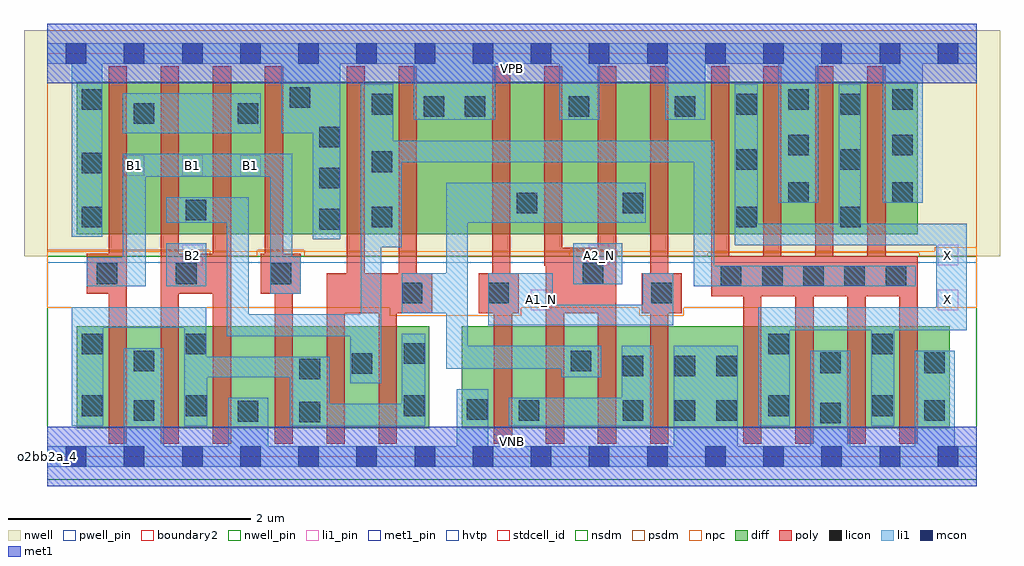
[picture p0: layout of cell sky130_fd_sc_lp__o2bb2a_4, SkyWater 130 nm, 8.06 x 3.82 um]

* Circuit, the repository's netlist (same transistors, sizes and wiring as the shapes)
* Copyright 2020 The SkyWater PDK Authors
*
* Licensed under the Apache License, Version 2.0 (the "License");
* you may not use this file except in compliance with the License.
* You may obtain a copy of the License at
*
*     https://www.apache.org/licenses/LICENSE-2.0
*
* Unless required by applicable law or agreed to in writing, software
* distributed under the License is distributed on an "AS IS" BASIS,
* WITHOUT WARRANTIES OR CONDITIONS OF ANY KIND, either express or implied.
* See the License for the specific language governing permissions and
* limitations under the License.
*
* SPDX-License-Identifier: Apache-2.0

.SUBCKT sky130_fd_sc_lp__o2bb2a_4 A1_N A2_N B1 B2 VGND VNB VPB VPWR X
*.PININFO A1_N:I A2_N:I B1:I B2:I VGND:I VNB:I VPB:I VPWR:I X:O
MMIN2 X y VGND VNB sky130_fd_pr__nfet_01v8 m=4 w=0.84U l=0.15U mult=1 sa=0.265
+ sb=0.265 sd=0.28 area=0.063 perim=1.14
MMNnand0 VGND A1_N sndNA1N VNB sky130_fd_pr__nfet_01v8 m=2 w=0.84U l=0.15U mult=1
+ sa=0.265 sb=0.265 sd=0.28 area=0.063 perim=1.14
MMNnand1 sndNA1N A2_N inand VNB sky130_fd_pr__nfet_01v8 m=2 w=0.84U l=0.15U mult=1
+ sa=0.265 sb=0.265 sd=0.28 area=0.063 perim=1.14
MMNaoi10 nmid B1 VGND VNB sky130_fd_pr__nfet_01v8 m=2 w=0.84U l=0.15U mult=1 sa=0.265
+ sb=0.265 sd=0.28 area=0.063 perim=1.14
MMNaoi11 nmid B2 VGND VNB sky130_fd_pr__nfet_01v8 m=2 w=0.84U l=0.15U mult=1 sa=0.265
+ sb=0.265 sd=0.28 area=0.063 perim=1.14
MMNaoi20 y inand nmid VNB sky130_fd_pr__nfet_01v8 m=2 w=0.84U l=0.15U mult=1 sa=0.265
+ sb=0.265 sd=0.28 area=0.063 perim=1.14
MMIP2 X y VPWR VPB sky130_fd_pr__pfet_01v8_hvt m=4 w=1.26U l=0.15U mult=1 sa=0.265
+ sb=0.265 sd=0.28 area=0.063 perim=1.14
MMPnand0 inand A1_N VPWR VPB sky130_fd_pr__pfet_01v8_hvt m=2 w=1.26U l=0.15U mult=1
+ sa=0.265 sb=0.265 sd=0.28 area=0.063 perim=1.14
MMPnand1 inand A2_N VPWR VPB sky130_fd_pr__pfet_01v8_hvt m=2 w=1.26U l=0.15U mult=1
+ sa=0.265 sb=0.265 sd=0.28 area=0.063 perim=1.14
MMPaoi10 VPWR B1 sndPB1 VPB sky130_fd_pr__pfet_01v8_hvt m=2 w=1.26U l=0.15U mult=1
+ sa=0.265 sb=0.265 sd=0.28 area=0.063 perim=1.14
MMPaoi11 sndPB1 B2 y VPB sky130_fd_pr__pfet_01v8_hvt m=2 w=1.26U l=0.15U mult=1
+ sa=0.265 sb=0.265 sd=0.28 area=0.063 perim=1.14
MMPaoi20 y inand VPWR VPB sky130_fd_pr__pfet_01v8_hvt m=2 w=1.26U l=0.15U mult=1
+ sa=0.265 sb=0.265 sd=0.28 area=0.063 perim=1.14
.ENDS sky130_fd_sc_lp__o2bb2a_4

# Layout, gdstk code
import gdstk
lib = gdstk.Library(unit=1e-6, precision=1e-09)
def R(c, l, rs):  # rectangles x0, y0, x1, y1
    for r in rs: c.add(gdstk.rectangle(r[:2], r[2:], *l))
def A(c, l, x, y, w, h, nx, ny, dx, dy):  # array of equal rectangles
    R(c, l, [(x+i*dx, y+j*dy, x+i*dx+w, y+j*dy+h) for i in range(nx) for j in range(ny)])
def P(c, l, *ps):  # polygons
    for p in ps: c.add(gdstk.Polygon(p, *l))
nwell_pin = (64, 16)
nwell = (64, 20)
diff = (65, 20)
poly = (66, 20)
licon = (66, 44)
li1_pin = (67, 16)
li1 = (67, 20)
mcon = (67, 44)
met1_pin = (68, 16)
met1 = (68, 20)
hvtp = (78, 44)
stdcell_id = (81, 4)
nsdm = (93, 44)
psdm = (94, 20)
npc = (95, 20)
pwell_pin = (122, 16)
boundary2 = (236, 0)

sky130_fd_sc_lp__o2bb2a_ = lib.new_cell('sky130_fd_sc_lp__o2bb2a_4')
R(sky130_fd_sc_lp__o2bb2a_, nwell_pin, [(0,3.085,7.68,3.33)])
R(sky130_fd_sc_lp__o2bb2a_, nwell, [(-0.19,1.655,7.87,3.52)])
R(sky130_fd_sc_lp__o2bb2a_, diff, [(0.245,0.235,3.155,1.075), (3.425,0.235,7.455,1.075), (0.245,1.835,7.19,3.095)])
P(sky130_fd_sc_lp__o2bb2a_, poly, [(0.66,3.225),(0.51,3.225),(0.51,1.675),(0.33,1.675),(0.33,1.345),(0.51,1.345),(0.51,0.105),(0.66,0.105)],
  [(1.52,3.225),(1.37,3.225),(1.37,1.675),(1.09,1.675),(1.09,3.225),(0.94,3.225),(0.94,0.105),(1.09,0.105),(1.09,1.345),(1.37,1.345),(1.37,0.105),(1.52,0.105)],
  [(2.095,1.675),(1.95,1.675),(1.95,3.225),(1.8,3.225),(1.8,1.675),(1.765,1.675),(1.765,1.345),(1.88,1.345),(1.88,0.105),(2.03,0.105),(2.03,1.345),(2.095,1.345)],
  [(3.18,1.515),(3.055,1.515),(3.055,3.225),(2.905,3.225),(2.905,1.515),(2.625,1.515),(2.625,3.225),(2.475,3.225),(2.475,1.515),(2.31,1.515),(2.31,0.105),(2.46,0.105),(2.46,1.185),(2.74,1.185),(2.74,0.105),(2.89,0.105),(2.89,1.185),(3.18,1.185)],
  [(3.895,1.515),(3.825,1.515),(3.825,3.225),(3.675,3.225),(3.675,1.515),(3.565,1.515),(3.565,1.185),(3.69,1.185),(3.69,0.105),(3.84,0.105),(3.84,1.185),(3.895,1.185)],
  [(4.7,3.225),(4.55,3.225),(4.55,1.725),(4.255,1.725),(4.255,3.225),(4.105,3.225),(4.105,1.575),(4.12,1.575),(4.12,0.105),(4.27,0.105),(4.27,1.185),(4.55,1.185),(4.55,0.105),(4.7,0.105)],
  [(5.24,1.515),(5.13,1.515),(5.13,3.225),(4.98,3.225),(4.98,1.515),(4.91,1.515),(4.91,1.185),(4.98,1.185),(4.98,0.105),(5.13,0.105),(5.13,1.185),(5.24,1.185)],
  [(7.19,1.655),(6.925,1.655),(6.925,3.225),(6.775,3.225),(6.775,1.655),(6.495,1.655),(6.495,3.225),(6.345,3.225),(6.345,1.655),(6.065,1.655),(6.065,3.225),(5.915,3.225),(5.915,1.655),(5.635,1.655),(5.635,3.225),(5.485,3.225),(5.485,1.325),(5.75,1.325),(5.75,0.105),(5.9,0.105),(5.9,1.325),(6.18,1.325),(6.18,0.105),(6.33,0.105),(6.33,1.325),(6.61,1.325),(6.61,0.105),(6.76,0.105),(6.76,1.325),(7.04,1.325),(7.04,0.105),(7.19,0.105)])
A(sky130_fd_sc_lp__o2bb2a_, licon, 5.565, 1.405, 0.17, 0.17, 5, 1, 0.34, 0)
A(sky130_fd_sc_lp__o2bb2a_, licon, 2.25, 1.875, 0.17, 0.17, 1, 3, 0, 0.34)
R(sky130_fd_sc_lp__o2bb2a_, licon, [(6.385,0.275,6.555,0.445), (2.085,0.285,2.255,0.455), (1.575,0.29,1.745,0.46), (0.715,0.295,0.885,0.465), (3.895,0.295,4.065,0.465), (4.755,0.295,4.925,0.465), (5.185,0.295,5.355,0.465), (5.525,0.295,5.695,0.465), (7.245,0.295,7.415,0.465), (3.465,0.305,3.635,0.475), (0.285,0.335,0.455,0.505), (1.145,0.335,1.315,0.505), (2.945,0.335,3.115,0.505), (5.955,0.335,6.125,0.505), (6.815,0.335,6.985,0.505), (2.085,0.64,2.255,0.81), (4.755,0.665,4.925,0.835), (5.185,0.665,5.355,0.835), (5.525,0.665,5.695,0.835), (2.515,0.685,2.685,0.855), (6.385,0.69,6.555,0.86), (7.245,0.69,7.415,0.86), (0.715,0.705,0.885,0.875), (4.325,0.705,4.495,0.875), (2.945,0.765,3.115,0.935), (0.285,0.845,0.455,1.015), (1.145,0.845,1.315,1.015), (5.955,0.845,6.125,1.015), (6.815,0.845,6.985,1.015), (2.93,1.265,3.1,1.435), (3.645,1.265,3.815,1.435), (4.99,1.265,5.16,1.435), (0.41,1.425,0.58,1.595), (1.065,1.425,1.235,1.595), (1.845,1.425,2.015,1.595), (4.425,1.425,4.595,1.595), (0.285,1.895,0.455,2.065), (2.68,1.895,2.85,2.065), (5.69,1.895,5.86,2.065), (6.55,1.895,6.72,2.065), (1.145,1.95,1.315,2.12), (3.88,2.01,4.05,2.18), (4.755,2.01,4.925,2.18), (6.12,2.095,6.29,2.265), (6.98,2.095,7.15,2.265), (0.285,2.34,0.455,2.51), (2.68,2.35,2.85,2.52), (5.69,2.37,5.86,2.54), (6.55,2.37,6.72,2.54), (6.12,2.49,6.29,2.66), (6.98,2.49,7.15,2.66), (0.715,2.75,0.885,2.92), (1.575,2.75,1.745,2.92), (3.11,2.805,3.28,2.975), (3.45,2.805,3.62,2.975), (4.31,2.805,4.48,2.975), (5.185,2.805,5.355,2.975), (2.68,2.825,2.85,2.995), (5.69,2.825,5.86,2.995), (6.55,2.825,6.72,2.995), (0.285,2.865,0.455,3.035), (6.12,2.865,6.29,3.035), (6.98,2.865,7.15,3.035), (2.005,2.88,2.175,3.05)])
A(sky130_fd_sc_lp__o2bb2a_, li1_pin, 0.635, 2.32, 0.17, 0.17, 3, 1, 0.48, 0)
R(sky130_fd_sc_lp__o2bb2a_, li1_pin, [(3.995,1.21,4.165,1.38), (7.355,1.21,7.525,1.38), (1.115,1.58,1.285,1.75), (4.475,1.58,4.645,1.75), (7.355,1.58,7.525,1.75)])
R(sky130_fd_sc_lp__o2bb2a_, li1, [(0.985,1.405,1.315,1.76), (4.345,1.425,4.75,1.76), (0.625,2.67,1.765,3)])
P(sky130_fd_sc_lp__o2bb2a_, li1, [(2.095,1.65),(2.025,1.65),(2.025,2.5),(0.625,2.5),(0.625,1.645),(0.33,1.645),(0.33,1.405),(0.815,1.405),(0.815,2.31),(1.845,2.31),(1.845,1.345),(2.095,1.345)],
  [(3.125,1.015),(2.93,1.015),(2.93,0.435),(2.335,0.435),(2.335,0.825),(1.315,0.825),(1.315,1.235),(0.205,1.235),(0.205,0.255),(0.465,0.255),(0.465,1.065),(1.135,1.065),(1.135,0.255),(1.325,0.255),(1.325,0.655),(2.005,0.655),(2.005,0.255),(3.125,0.255)],
  [(4.945,2.26),(3.295,2.26),(3.295,1.515),(2.93,1.515),(2.93,1.185),(3.295,1.185),(3.295,0.725),(4.245,0.725),(4.245,0.655),(4.575,0.655),(4.575,0.915),(3.475,0.915),(3.475,1.93),(4.945,1.93)],
  [(5.005,0.915),(4.745,0.915),(4.745,0.485),(3.815,0.485),(3.815,0.255),(5.005,0.255)],
  [(5.17,1.515),(4.92,1.515),(4.92,1.255),(4.175,1.255),(4.175,1.515),(3.645,1.515),(3.645,1.085),(5.17,1.085)],
  [(7.175,1.575),(5.51,1.575),(5.51,2.61),(2.86,2.61),(2.86,3.075),(2.59,3.075),(2.59,1.175),(1.665,1.175),(1.665,2.14),(0.985,2.14),(0.985,1.93),(1.485,1.93),(1.485,0.995),(2.505,0.995),(2.505,0.605),(2.76,0.605),(2.76,1.73),(2.93,1.73),(2.93,2.43),(5.34,2.43),(5.34,1.405),(7.175,1.405)],
  [(7.595,1.925),(6.72,1.925),(6.72,3.075),(6.54,3.075),(6.54,1.925),(5.87,1.925),(5.87,3.075),(5.68,3.075),(5.68,1.745),(7.345,1.745),(7.345,1.235),(5.875,1.235),(5.875,0.255),(6.135,0.255),(6.135,1.045),(6.805,1.045),(6.805,0.255),(6.995,0.255),(6.995,1.045),(7.595,1.045)],
  [(7.68,3.415),(0,3.415),(0,3.245),(0.205,3.245),(0.205,1.815),(0.455,1.815),(0.455,3.245),(1.935,3.245),(1.935,2.67),(2.195,2.67),(2.195,1.795),(2.42,1.795),(2.42,3.245),(3.03,3.245),(3.03,2.78),(3.7,2.78),(3.7,3.245),(4.23,3.245),(4.23,2.78),(4.56,2.78),(4.56,3.245),(5.105,3.245),(5.105,2.78),(5.435,2.78),(5.435,3.245),(6.04,3.245),(6.04,2.095),(6.37,2.095),(6.37,3.245),(6.9,3.245),(6.9,2.095),(7.23,2.095),(7.23,3.245),(7.68,3.245)],
  [(7.68,0.085),(7.495,0.085),(7.495,0.875),(7.165,0.875),(7.165,0.085),(6.635,0.085),(6.635,0.875),(6.305,0.875),(6.305,0.085),(5.705,0.085),(5.705,0.915),(5.175,0.915),(5.175,0.085),(3.645,0.085),(3.645,0.555),(3.385,0.555),(3.385,0.085),(1.825,0.085),(1.825,0.485),(1.495,0.485),(1.495,0.085),(0.965,0.085),(0.965,0.895),(0.635,0.895),(0.635,0.085),(0,0.085),(0,-0.085),(7.68,-0.085)])
A(sky130_fd_sc_lp__o2bb2a_, mcon, 0.155, -0.085, 0.17, 0.17, 16, 2, 0.48, 3.33)
R(sky130_fd_sc_lp__o2bb2a_, met1_pin, [(0,0,7.68,0.245), (0,3.085,7.68,3.33)])
R(sky130_fd_sc_lp__o2bb2a_, met1, [(0,-0.245,7.68,0.245), (0,3.085,7.68,3.575)])
R(sky130_fd_sc_lp__o2bb2a_, hvtp, [(0,1.6,7.68,3.33)])
R(sky130_fd_sc_lp__o2bb2a_, stdcell_id, [(0,0,7.68,3.33)])
R(sky130_fd_sc_lp__o2bb2a_, nsdm, [(0,-0.19,7.68,1.655)])
P(sky130_fd_sc_lp__o2bb2a_, psdm, [(7.68,3.52),(0,3.52),(0,1.705),(1.345,1.705),(1.345,1.655),(1.735,1.655),(1.735,1.705),(2.125,1.705),(2.125,1.655),(4.315,1.655),(4.315,1.705),(4.705,1.705),(4.705,1.655),(5.455,1.655),(5.455,1.685),(7.205,1.685),(7.205,1.655),(7.68,1.655)])
P(sky130_fd_sc_lp__o2bb2a_, npc, [(7.68,1.73),(7.33,1.73),(7.33,1.695),(0,1.695),(0,1.23),(2.83,1.23),(2.83,1.165),(3.915,1.165),(3.915,1.23),(4.89,1.23),(4.89,1.165),(5.26,1.165),(5.26,1.23),(7.68,1.23)])
R(sky130_fd_sc_lp__o2bb2a_, pwell_pin, [(0,0,7.68,0.245)])
R(sky130_fd_sc_lp__o2bb2a_, boundary2, [(0,0,7.68,3.33)])
sky130_fd_sc_lp__o2bb2a_.add(gdstk.Label('VNB', (3.84,0.123), layer=64, texttype=59))
sky130_fd_sc_lp__o2bb2a_.add(gdstk.Label('VPB', (3.84,3.208), layer=64, texttype=5))
sky130_fd_sc_lp__o2bb2a_.add(gdstk.Label('o2bb2a_4', (0,0), layer=83, texttype=44))
sky130_fd_sc_lp__o2bb2a_.add(gdstk.Label('VPWR', (3.84,3.208), layer=68, texttype=5))
sky130_fd_sc_lp__o2bb2a_.add(gdstk.Label('VGND', (3.84,0.123), layer=68, texttype=5))
sky130_fd_sc_lp__o2bb2a_.add(gdstk.Label('A2_N', (4.56,1.665), layer=67, texttype=5))
sky130_fd_sc_lp__o2bb2a_.add(gdstk.Label('B1', (0.72,2.405), layer=67, texttype=5))
sky130_fd_sc_lp__o2bb2a_.add(gdstk.Label('B1', (1.2,2.405), layer=67, texttype=5))
sky130_fd_sc_lp__o2bb2a_.add(gdstk.Label('B1', (1.68,2.405), layer=67, texttype=5))
sky130_fd_sc_lp__o2bb2a_.add(gdstk.Label('B2', (1.2,1.665), layer=67, texttype=5))
sky130_fd_sc_lp__o2bb2a_.add(gdstk.Label('X', (7.44,1.295), layer=67, texttype=5))
sky130_fd_sc_lp__o2bb2a_.add(gdstk.Label('X', (7.44,1.665), layer=67, texttype=5))
sky130_fd_sc_lp__o2bb2a_.add(gdstk.Label('A1_N', (4.08,1.295), layer=67, texttype=5))

lib.write_gds('sky130_fd_sc_lp__o2bb2a_4.gds')
